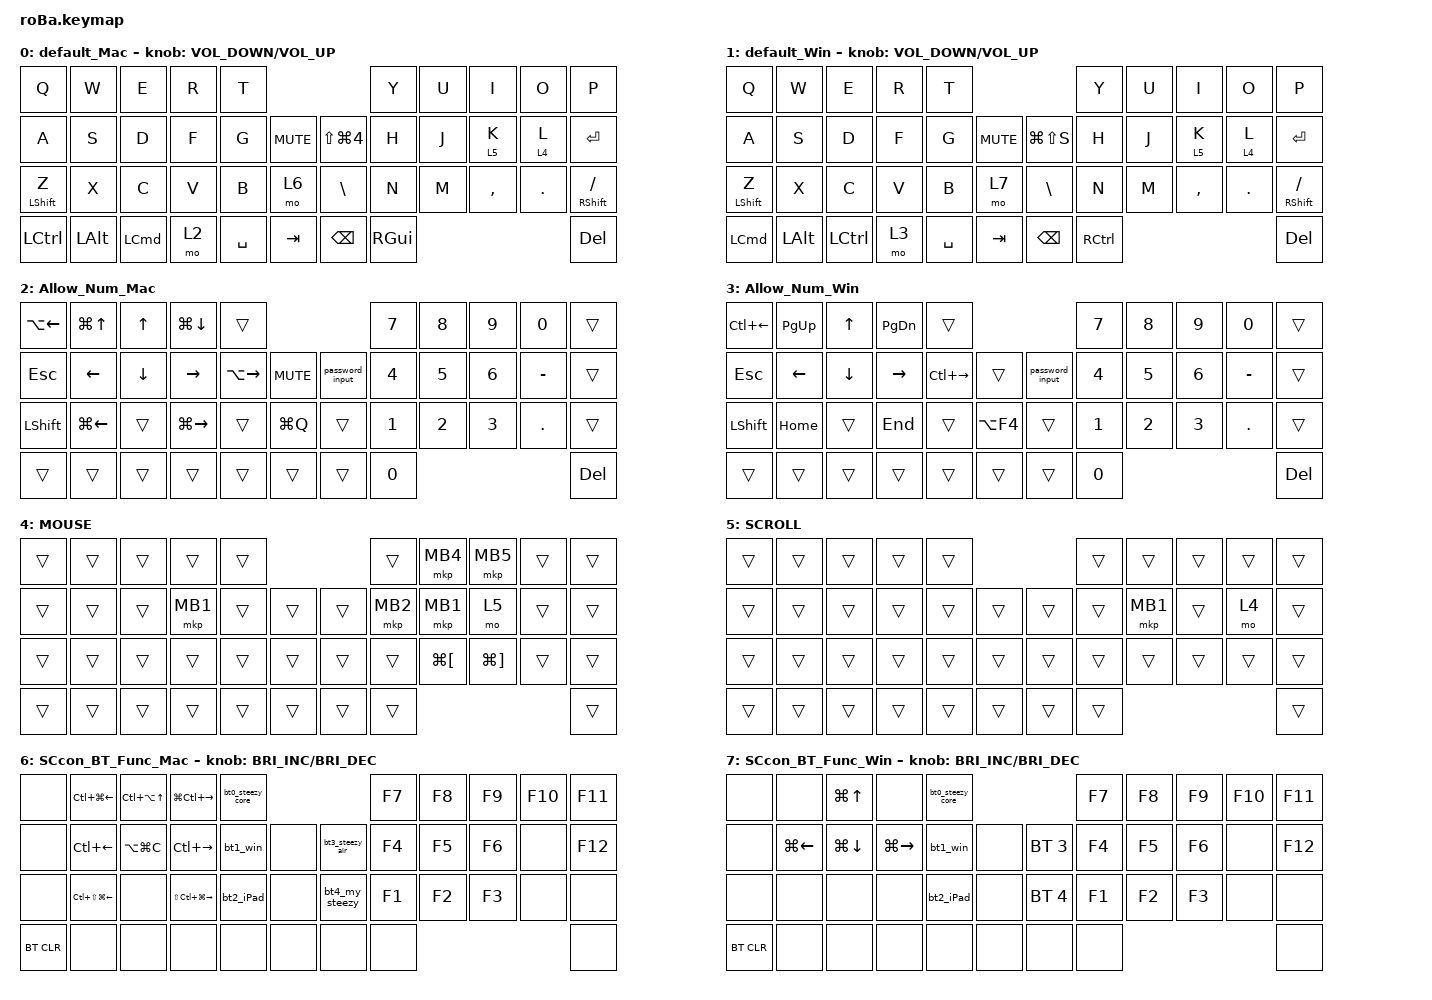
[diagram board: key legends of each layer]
#include <behaviors.dtsi>
#include <dt-bindings/zmk/bt.h>
#include <dt-bindings/zmk/keys.h>
#include <dt-bindings/zmk/pointing.h>

#define MOUSE 4
#define SCROLL 5
#define NUM 6

&mt {
    flavor = "balanced";
    quick-tap-ms = <0>;
};

/ {
    combos {
        compatible = "zmk,combos";

        back_quate {
            bindings = <&kp GRAVE>;
            key-positions = <0 1>;
        };

        minus {
            bindings = <&kp MINUS>;
            key-positions = <7 8>;
        };

        bracket {
            bindings = <&kp LEFT_BRACKET>;
            key-positions = <19 20>;
        };

        right_bracket {
            bindings = <&kp RIGHT_BRACKET>;
            key-positions = <20 21>;
        };

        semi_colon {
            bindings = <&kp SEMICOLON>;
            key-positions = <31 32>;
        };

        single_q {
            bindings = <&kp SINGLE_QUOTE>;
            key-positions = <32 33>;
        };

        alt {
            bindings = <&kp RIGHT_ALT>;
            key-positions = <20 41>;
        };

        browser_tab {
            bindings = <&kp LC(TAB)>;
            key-positions = <12 13>;
        };

        browser_shi_tab {
            bindings = <&kp LC(LS(TAB))>;
            key-positions = <12 11>;
        };

        equal {
            bindings = <&kp EQUAL>;
            key-positions = <8 9>;
        };
    };

    macros {
        to_layer_0: to_layer_0 {
            compatible = "zmk,behavior-macro-one-param";
            #binding-cells = <1>;
            bindings = <&to 0 &macro_param_1to1 &kp MACRO_PLACEHOLDER>;
            label = "TO_LAYER_0";
        };

        password_input: password_input {
            compatible = "zmk,behavior-macro";
            #binding-cells = <0>;
            bindings = <&kp HASH &kp LS(DOLLAR) &kp LS(PERCENT) &kp LS(R) &kp LS(D) &kp LS(E) &kp NUMBER_3 &kp NUMBER_4 &kp N5 &kp R &kp D &kp E &kp NUMBER_3 &kp NUMBER_4 &kp N5>;
            label = "PASSWORD_INPUT";
        };

        bt0_steezy_core: bt0_mac {
            compatible = "zmk,behavior-macro";
            #binding-cells = <0>;
            bindings = <&bt BT_SEL 0 &to 0>;
            label = "BT0_MAC";
        };

        bt1_win: bt1_win {
            compatible = "zmk,behavior-macro";
            #binding-cells = <0>;
            bindings = <&bt BT_SEL 1 &to 1>;
            label = "BT1_WIN";
        };

        bt2_iPad: bt2_iPad {
            compatible = "zmk,behavior-macro";
            #binding-cells = <0>;
            bindings = <&bt BT_SEL 2 &to 0>;
            label = "BT2_IPAD";
        };

        bt3_steezy_air: bt_macair {
            compatible = "zmk,behavior-macro";
            #binding-cells = <0>;
            bindings = <&bt BT_SEL 3 &to 0>;
            label = "BT_MACAIR";
        };

        bt4_my_steezy: bt4_my_steezy {
            compatible = "zmk,behavior-macro";
            #binding-cells = <0>;
            bindings = <&bt BT_SEL 4 &to 0>;
            label = "BT4_MY_STEEZY";
        };
    };

    behaviors {
        lt_to_layer_0: lt_to_layer_0 {
            compatible = "zmk,behavior-hold-tap";
            label = "LAYER_TAP_TO_0";
            bindings = <&mo>, <&to_layer_0>;

            #binding-cells = <2>;
            tapping-term-ms = <200>;
        };
    };

    keymap {
        compatible = "zmk,keymap";

        default_Mac {
            bindings = <
&kp Q             &kp W         &kp E             &kp R  &kp T                                            &kp Y          &kp U  &kp I      &kp O    &kp P
&kp A             &kp S         &kp D             &kp F  &kp G      &kp C_MUTE      &kp LS(LG(NUMBER_4))  &kp H          &kp J  &lt 5 K    &lt 4 L  &kp ENTER
&mt LEFT_SHIFT Z  &kp X         &kp C             &kp V  &kp B      &mo 6           &kp BACKSLASH         &kp N          &kp M  &kp COMMA  &kp DOT  &mt RIGHT_SHIFT SLASH
&kp LCTRL         &kp LEFT_ALT  &kp LEFT_COMMAND  &mo 2  &kp SPACE  &kp TAB         &kp BACKSPACE         &kp RIGHT_GUI                             &kp DELETE
            >;

            sensor-bindings = <&inc_dec_kp C_VOLUME_DOWN C_VOLUME_UP>;
        };

        default_Win {
            bindings = <
&kp Q             &kp W         &kp E             &kp R  &kp T                                     &kp Y              &kp U  &kp I      &kp O    &kp P
&kp A             &kp S         &kp D             &kp F  &kp G      &kp C_MUTE      &kp LG(LS(S))  &kp H              &kp J  &lt 5 K    &lt 4 L  &kp ENTER
&mt LEFT_SHIFT Z  &kp X         &kp C             &kp V  &kp B      &mo 7           &kp BACKSLASH  &kp N              &kp M  &kp COMMA  &kp DOT  &mt RIGHT_SHIFT SLASH
&kp LEFT_COMMAND  &kp LEFT_ALT  &kp LEFT_CONTROL  &mo 3  &kp SPACE  &kp TAB         &kp BACKSPACE  &kp RIGHT_CONTROL                             &kp DELETE
            >;

            sensor-bindings = <&inc_dec_kp C_VOLUME_DOWN C_VOLUME_UP>;
        };

        Allow_Num_Mac {
            bindings = <
&kp LA(LEFT)    &kp LG(UP_ARROW)    &kp UP_ARROW    &kp LG(DOWN_ARROW)   &trans                                                &kp NUMBER_7  &kp NUMBER_8  &kp NUMBER_9  &kp NUMBER_0  &trans
&kp ESCAPE      &kp LEFT            &kp DOWN_ARROW  &kp RIGHT            &kp LA(RIGHT_ARROW)  &kp C_MUTE      &password_input  &kp NUMBER_4  &kp NUMBER_5  &kp NUMBER_6  &kp MINUS     &trans
&kp LEFT_SHIFT  &kp LG(LEFT_ARROW)  &trans          &kp LG(RIGHT_ARROW)  &trans               &kp LG(Q)       &trans           &kp NUMBER_1  &kp NUMBER_2  &kp NUMBER_3  &kp PERIOD    &trans
&trans          &trans              &trans          &trans               &trans               &trans          &trans           &kp N0                                                  &kp DELETE
            >;
        };

        Allow_Num_Win {
            bindings = <
&kp LC(LEFT_ARROW)  &kp PAGE_UP  &kp UP_ARROW    &kp PAGE_DOWN  &trans                                                &kp NUMBER_7  &kp NUMBER_8  &kp NUMBER_9  &kp NUMBER_0  &trans
&kp ESCAPE          &kp LEFT     &kp DOWN_ARROW  &kp RIGHT      &kp LC(RIGHT_ARROW)  &trans          &password_input  &kp NUMBER_4  &kp NUMBER_5  &kp NUMBER_6  &kp MINUS     &trans
&kp LEFT_SHIFT      &kp HOME     &trans          &kp END        &trans               &kp LA(F4)      &trans           &kp NUMBER_1  &kp NUMBER_2  &kp NUMBER_3  &kp PERIOD    &trans
&trans              &trans       &trans          &trans         &trans               &trans          &trans           &kp N0                                                  &kp DELETE
            >;
        };

        MOUSE {
            bindings = <
&trans  &trans  &trans  &trans    &trans                      &trans    &mkp MB4              &mkp MB5               &trans  &trans
&trans  &trans  &trans  &mkp MB1  &trans  &trans      &trans  &mkp MB2  &mkp MB1              &mo 5                  &trans  &trans
&trans  &trans  &trans  &trans    &trans  &trans      &trans  &trans    &kp LG(LEFT_BRACKET)  &kp LG(RIGHT_BRACKET)  &trans  &trans
&trans  &trans  &trans  &trans    &trans  &trans      &trans  &trans                                                         &trans
            >;
        };

        SCROLL {
            bindings = <
&trans  &trans  &trans  &trans  &trans                      &trans  &trans    &trans  &trans  &trans
&trans  &trans  &trans  &trans  &trans  &trans      &trans  &trans  &mkp MB1  &trans  &mo 4   &trans
&trans  &trans  &trans  &trans  &trans  &trans      &trans  &trans  &trans    &trans  &trans  &trans
&trans  &trans  &trans  &trans  &trans  &trans      &trans  &trans                            &trans
            >;
        };

        SCcon_BT_Func_Mac {
            bindings = <
&none       &kp LC(LG(LEFT))      &kp LC(LA(UP_ARROW))  &kp LG(LC(RIGHT))      &bt0_steezy_core                              &kp F7  &kp F8  &kp F9  &kp F10  &kp F11
&none       &kp LC(LEFT)          &kp LA(LG(C))         &kp LC(RIGHT)          &bt1_win          &none      &bt3_steezy_air  &kp F4  &kp F5  &kp F6  &none    &kp F12
&none       &kp LC(LS(LG(LEFT)))  &none                 &kp LS(LC(LG(RIGHT)))  &bt2_iPad         &none      &bt4_my_steezy   &kp F1  &kp F2  &kp F3  &none    &none
&bt BT_CLR  &none                 &none                 &none                  &none             &none      &none            &none                            &none
            >;

            sensor-bindings = <&inc_dec_kp C_BRIGHTNESS_INC C_BRIGHTNESS_DEC>;
        };

        SCcon_BT_Func_Win {
            bindings = <
&none       &none         &kp LG(UP_ARROW)  &none          &bt0_steezy_core                           &kp F7  &kp F8  &kp F9  &kp F10  &kp F11
&none       &kp LG(LEFT)  &kp LG(DOWN)      &kp LG(RIGHT)  &bt1_win          &none      &bt BT_SEL 3  &kp F4  &kp F5  &kp F6  &none    &kp F12
&none       &none         &none             &none          &bt2_iPad         &none      &bt BT_SEL 4  &kp F1  &kp F2  &kp F3  &none    &none
&bt BT_CLR  &none         &none             &none          &none             &none      &none         &none                            &none
            >;

            sensor-bindings = <&inc_dec_kp C_BRIGHTNESS_INC C_BRIGHTNESS_DEC>;
        };
    };
};
